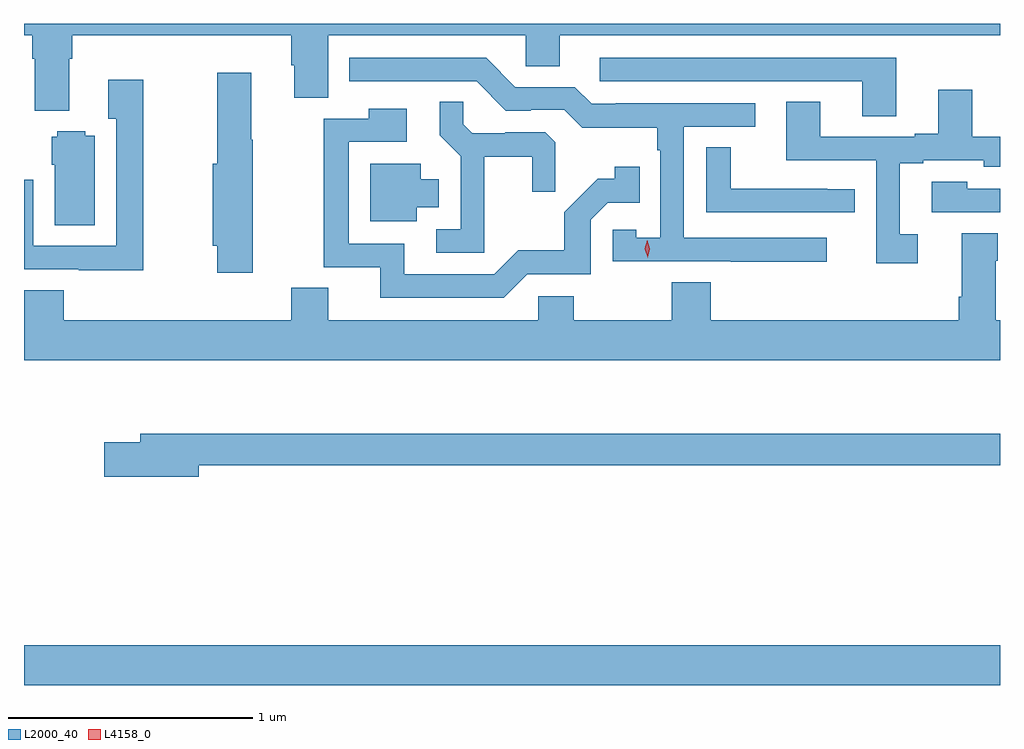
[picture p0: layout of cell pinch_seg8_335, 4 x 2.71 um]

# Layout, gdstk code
import gdstk
lib = gdstk.Library(unit=1e-6, precision=1e-09)
def R(c, l, rs):  # rectangles x0, y0, x1, y1
    for r in rs: c.add(gdstk.rectangle(r[:2], r[2:], *l))
def P(c, l, *ps):  # polygons
    for p in ps: c.add(gdstk.Polygon(p, *l))
L2000_40 = (2000, 40)
L4158_0 = (4158, 0)

pinch_seg8_335 = lib.new_cell('pinch_seg8_335')
R(pinch_seg8_335, L2000_40, [(374.132,1161.788,378.132,1161.952)])
P(pinch_seg8_335, L2000_40, [(374.317,1164.356),(374.33,1164.356),(374.33,1164.452),(375.227,1164.452),(375.227,1164.33),(375.239,1164.33),(375.239,1164.196),(375.379,1164.196),(375.379,1164.452),(376.188,1164.452),(376.188,1164.325),(376.327,1164.325),(376.327,1164.452),(378.132,1164.452),(378.132,1164.5),(374.132,1164.5),(374.132,1164.452),(374.165,1164.452),(374.165,1164.356),(374.177,1164.356),(374.177,1164.143),(374.317,1164.143)],
  [(377.707,1164.36),(376.491,1164.36),(376.491,1164.264),(377.567,1164.264),(377.567,1164.121),(377.707,1164.121)],
  [(377.422,1163.622),(376.836,1163.622),(376.836,1164.078),(377.128,1164.078),(377.128,1164.174),(376.558,1164.174),(376.558,1164.171),(376.458,1164.171),(376.389,1164.24),(376.146,1164.24),(376.026,1164.36),(375.464,1164.36),(375.464,1164.264),(375.987,1164.264),(376.107,1164.144),(376.208,1164.144),(376.208,1164.147),(376.347,1164.147),(376.42,1164.074),(376.728,1164.074),(376.728,1163.981),(376.74,1163.981),(376.74,1163.623),(376.641,1163.623),(376.641,1163.655),(376.545,1163.655),(376.545,1163.526),(377.029,1163.526),(377.029,1163.524),(377.422,1163.524)],
  [(375.07,1164.025),(375.064,1164.025),(375.064,1164.298),(374.923,1164.298),(374.923,1163.925),(374.905,1163.925),(374.905,1163.589),(374.923,1163.589),(374.923,1163.48),(375.07,1163.48)],
  [(374.62,1164.271),(374.477,1164.271),(374.477,1164.11),(374.511,1164.11),(374.511,1163.589),(374.169,1163.589),(374.169,1163.86),(374.132,1163.86),(374.132,1163.493),(374.357,1163.493),(374.357,1163.489),(374.62,1163.489)],
  [(377.794,1163.637),(377.722,1163.637),(377.722,1163.928),(377.818,1163.928),(377.818,1163.94),(378.066,1163.94),(378.066,1163.913),(378.132,1163.913),(378.132,1164.036),(378.019,1164.036),(378.019,1164.229),(377.879,1164.229),(377.879,1164.049),(377.783,1164.049),(377.783,1164.036),(377.395,1164.036),(377.395,1164.179),(377.255,1164.179),(377.255,1163.94),(377.625,1163.94),(377.625,1163.517),(377.794,1163.517)],
  [(376.019,1163.954),(376.216,1163.954),(376.216,1163.811),(376.31,1163.811),(376.31,1164.013),(376.269,1164.054),(376.104,1164.054),(376.104,1164.051),(375.97,1164.051),(375.933,1164.088),(375.933,1164.179),(375.835,1164.179),(375.835,1164.043),(375.921,1163.957),(375.921,1163.658),(375.822,1163.658),(375.822,1163.562),(376.019,1163.562)],
  [(376.194,1163.472),(376.455,1163.472),(376.455,1163.697),(376.524,1163.766),(376.655,1163.766),(376.655,1163.914),(376.554,1163.914),(376.554,1163.864),(376.484,1163.864),(376.347,1163.726),(376.347,1163.571),(376.158,1163.571),(376.059,1163.472),(375.691,1163.472),(375.691,1163.598),(375.462,1163.598),(375.462,1164.015),(375.7,1164.015),(375.7,1164.151),(375.544,1164.151),(375.544,1164.111),(375.361,1164.111),(375.361,1163.502),(375.593,1163.502),(375.593,1163.376),(376.098,1163.376)],
  [(374.422,1164.04),(374.382,1164.04),(374.382,1164.058),(374.268,1164.058),(374.268,1164.036),(374.246,1164.036),(374.246,1163.922),(374.258,1163.922),(374.258,1163.674),(374.422,1163.674)],
  [(377.536,1163.822),(377.423,1163.822),(377.423,1163.823),(377.028,1163.823),(377.028,1163.993),(376.929,1163.993),(376.929,1163.727),(377.536,1163.727)],
  [(375.742,1163.747),(375.832,1163.747),(375.832,1163.863),(375.757,1163.863),(375.757,1163.926),(375.551,1163.926),(375.551,1163.69),(375.742,1163.69)],
  [(378.132,1163.823),(377.997,1163.823),(377.997,1163.851),(377.853,1163.851),(377.853,1163.727),(378.132,1163.727)],
  [(378.132,1163.284),(378.115,1163.284),(378.115,1163.528),(378.123,1163.528),(378.123,1163.641),(377.975,1163.641),(377.975,1163.38),(377.963,1163.38),(377.963,1163.284),(376.946,1163.284),(376.946,1163.441),(376.786,1163.441),(376.786,1163.284),(376.386,1163.284),(376.386,1163.382),(376.239,1163.382),(376.239,1163.284),(375.379,1163.284),(375.379,1163.417),(375.227,1163.417),(375.227,1163.284),(374.294,1163.284),(374.294,1163.408),(374.132,1163.408),(374.132,1163.12),(378.132,1163.12)],
  [(374.848,1162.69),(378.132,1162.69),(378.132,1162.819),(374.609,1162.819),(374.609,1162.785),(374.46,1162.785),(374.46,1162.643),(374.848,1162.643)])
P(pinch_seg8_335, L4158_0, [(376.689,1163.541),(376.688,1163.542),(376.677,1163.577),(376.686,1163.613),(376.686,1163.613),(376.686,1163.613),(376.697,1163.578),(376.689,1163.542)])

lib.write_gds('pinch_seg8_335.gds')
